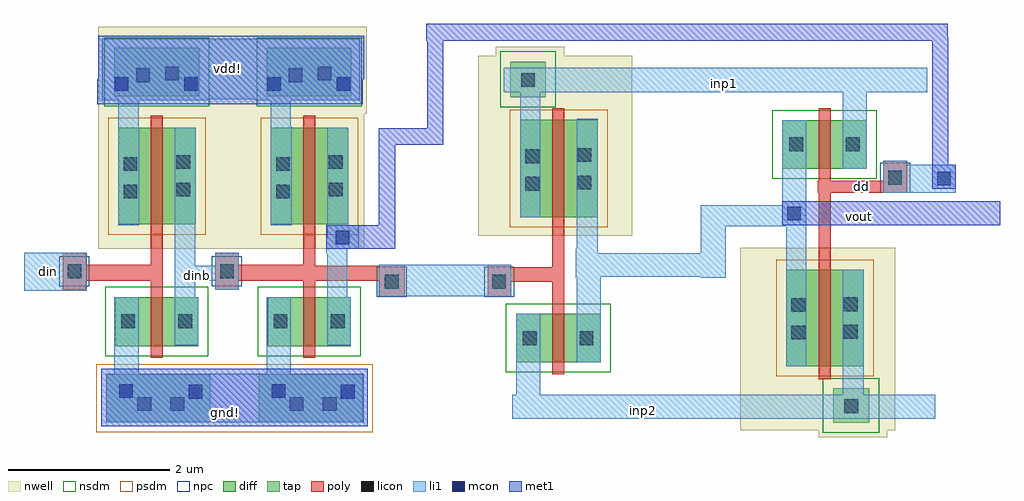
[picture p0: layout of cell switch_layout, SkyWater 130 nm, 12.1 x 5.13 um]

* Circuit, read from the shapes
.subckt switch_layout dd din dinb gnd! inp1 inp2 vdd! vout
XM1 dinb din gnd! gnd! sky130_fd_pr__nfet_01v8 w=0.61 l=0.15
XM2 dd dinb gnd! gnd! sky130_fd_pr__nfet_01v8 w=0.61 l=0.15
XM3 vout dinb inp2 gnd! sky130_fd_pr__nfet_01v8 w=0.6 l=0.15
XM4 inp1 dd vout gnd! sky130_fd_pr__nfet_01v8 w=0.6 l=0.15
XM5 dinb din vdd! vdd! sky130_fd_pr__pfet_01v8 w=1.2 l=0.15
XM6 dd dinb vdd! vdd! sky130_fd_pr__pfet_01v8 w=1.2 l=0.15
XM7 vout dinb inp1 inp1 sky130_fd_pr__pfet_01v8 w=1.21 l=0.15
XM8 inp2 dd vout inp2 sky130_fd_pr__pfet_01v8 w=1.2 l=0.15
.ends

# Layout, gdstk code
import gdstk
lib = gdstk.Library(unit=1e-6, precision=1e-09)
def R(c, l, rs):  # rectangles x0, y0, x1, y1
    for r in rs: c.add(gdstk.rectangle(r[:2], r[2:], *l))
nwell = (64, 20)
diff = (65, 20)
tap = (65, 44)
poly = (66, 20)
licon = (66, 44)
li1 = (67, 20)
mcon = (67, 44)
met1 = (68, 20)
nsdm = (93, 44)
psdm = (94, 20)
npc = (95, 20)

inv = lib.new_cell('INV')
R(inv, nwell, [(0,0,1.41,1.67), (0,1.67,1.44,2.75)])
R(inv, diff, [(0.21,-1.21,1.24,-0.6), (0.25,0.3,1.21,1.5)])
R(inv, tap, [(0.1,-2.15,1.39,-1.56), (0.2,1.89,1.25,2.49)])
R(inv, poly, [(0.65,-1.35,0.8,-0.4), (-0.44,-0.51,-0.15,-0.4), (-0.44,-0.4,0.8,-0.2), (-0.44,-0.2,-0.15,-0.05), (0.65,-0.2,0.8,1.65)])
R(inv, licon, [(0.485,-2.01,0.655,-1.84), (0.895,-2.01,1.065,-1.84), (0.285,-0.985,0.455,-0.815), (0.995,-0.985,1.165,-0.815), (-0.38,-0.365,-0.21,-0.195), (0.315,0.625,0.485,0.795), (0.97,0.65,1.14,0.82), (0.315,0.965,0.485,1.135), (0.97,0.99,1.14,1.16), (0.47,2.065,0.64,2.235), (0.83,2.085,1,2.255)])
R(inv, li1, [(0.1,-2.15,1.4,-1.55), (0.2,-1.55,0.5,-0.6), (0.95,-1.2,1.24,-0.6), (0.95,-0.6,1.2,0.3), (-0.44,-0.51,-0.15,-0.05), (0.25,0.29,0.51,1.51), (0.95,0.3,1.21,1.5), (0.25,1.51,0.5,1.84), (0.05,1.84,1.35,2.6)])
R(inv, mcon, [(1.12,-1.86,1.29,-1.69), (0.26,-1.85,0.43,-1.68), (0.205,1.955,0.375,2.125), (1.065,1.955,1.235,2.125)])
R(inv, met1, [(0.04,-2.2,1.45,-1.49), (-0.01,1.79,1.39,2.1), (0,2.1,1.41,2.64)])
R(inv, nsdm, [(0.085,-1.335,1.365,-0.475), (0.075,1.765,1.375,2.615)])
R(inv, psdm, [(-0.025,-2.275,1.515,-1.435), (0.125,0.175,1.335,1.625)])
R(inv, npc, [(-0.48,-0.465,-0.11,-0.095)])

switch_layout = lib.new_cell('switch_layout')
R(switch_layout, nwell, [(10.05,0.77,10.9,0.86), (9.08,0.86,11,3.12), (2.53,3.11,3.01,5.86), (5.83,3.27,7.74,5.5), (6.05,5.5,6.9,5.61)])
R(switch_layout, diff, [(9.65,1.65,10.61,2.85), (6.3,1.7,7.35,2.3), (6.35,3.5,7.31,4.71), (9.6,4.1,10.65,4.7)])
R(switch_layout, tap, [(10.23,0.95,10.68,1.38), (6.23,4.99,6.67,5.43)])
R(switch_layout, poly, [(10.05,1.49,10.2,3.8), (6.75,1.55,6.9,2.7), (4.6,2.52,4.92,2.71), (5.95,2.52,6.24,2.7), (5.95,2.7,6.9,2.88), (3.65,2.71,4.92,2.9), (5.95,2.88,6.24,2.91), (6.75,2.88,6.9,4.85), (4.6,2.9,4.92,2.91), (10.04,3.8,11.15,3.95), (10.05,3.95,10.2,4.85), (10.85,3.95,11.15,4.2)])
R(switch_layout, licon, [(10.37,1.07,10.54,1.24), (6.385,1.915,6.555,2.085), (7.09,1.915,7.26,2.085), (9.715,1.985,9.885,2.155), (10.365,1.995,10.535,2.165), (9.715,2.325,9.885,2.495), (10.365,2.335,10.535,2.505), (4.675,2.615,4.845,2.785), (6.005,2.615,6.175,2.785), (6.415,3.83,6.585,4), (7.065,3.845,7.235,4.015), (10.915,3.905,11.085,4.075), (6.415,4.17,6.585,4.34), (7.065,4.185,7.235,4.355), (9.69,4.32,9.86,4.49), (10.39,4.32,10.56,4.49), (6.365,5.115,6.535,5.285)])
R(switch_layout, li1, [(2.51,0.96,3.11,1.56), (6.25,1,11.5,1.3), (6.3,1.3,6.6,2.3), (10.35,1.3,10.61,2.85), (9.65,1.65,9.9,3.39), (7.05,1.7,7.35,2.75), (4.6,2.52,6.24,2.91), (0.2,2.59,0.98,3.06), (2.07,2.71,2.85,2.9), (7.04,2.75,7.35,2.76), (8.59,2.75,8.9,2.76), (7.04,2.76,8.9,3.05), (3.95,3.05,4.17,3.15), (7.04,3.05,7.31,3.11), (8.59,3.05,8.9,3.39), (4.2,3.11,4.35,3.15), (7.05,3.11,7.31,4.72), (3.95,3.15,4.35,3.24), (4.05,3.24,4.35,3.35), (4.2,3.35,4.35,3.4), (8.59,3.39,9.9,3.65), (4.21,3.4,4.22,3.41), (6.35,3.5,6.6,5.05), (9.6,3.65,9.9,4.7), (10.85,3.8,11.75,4.15), (10.35,4.1,10.65,5.05), (10.85,4.15,11.15,4.2), (2.46,4.96,3.06,5.71), (6.15,5.05,11.4,5.35)])
R(switch_layout, mcon, [(4.065,3.165,4.235,3.335), (9.66,3.46,9.83,3.63), (11.52,3.895,11.69,4.065)])
R(switch_layout, met1, [(2.56,0.91,3.06,1.62), (3.95,3.11,4.8,3.4), (4.6,3.4,4.8,4.4), (9.6,3.4,12.3,3.7), (11.46,3.85,11.75,4.15), (11.46,4.15,11.66,5.69), (4.6,4.4,5.4,4.6), (5.2,4.6,5.4,5.69), (2.51,4.9,3.01,5.75), (5.19,5.69,11.66,5.74), (5.19,5.74,11.65,5.9)])
R(switch_layout, nsdm, [(10.105,0.825,10.805,1.505), (6.175,1.575,7.475,2.425), (9.475,3.975,10.775,4.825), (6.105,4.865,6.795,5.555)])
R(switch_layout, psdm, [(2.635,0.835,2.985,1.675), (9.525,1.525,10.735,2.975), (6.225,3.375,7.435,4.835)])
R(switch_layout, npc, [(4.575,2.515,4.945,2.885), (5.905,2.515,6.275,2.885), (10.815,3.805,11.185,4.175)])
switch_layout.add(gdstk.Reference(inv, (1.12,3.11)))
switch_layout.add(gdstk.Reference(inv, (3.01,3.11)))
switch_layout.add(gdstk.Label('vdd!', (2.72,5.34), layer=68, texttype=16))
switch_layout.add(gdstk.Label('gnd!', (2.7,1.08), layer=68, texttype=16))
switch_layout.add(gdstk.Label('inp2', (7.88,1.1), layer=67, texttype=16))
switch_layout.add(gdstk.Label('inp1', (8.89,5.16), layer=67, texttype=16))
switch_layout.add(gdstk.Label('din', (0.5,2.83), layer=67, texttype=16))
switch_layout.add(gdstk.Label('dinb', (2.35,2.78), layer=67, texttype=16))
switch_layout.add(gdstk.Label('dd', (10.58,3.88), layer=66, texttype=16))
switch_layout.add(gdstk.Label('vout', (10.56,3.51), layer=68, texttype=16))

lib.write_gds('switch_layout.gds')
